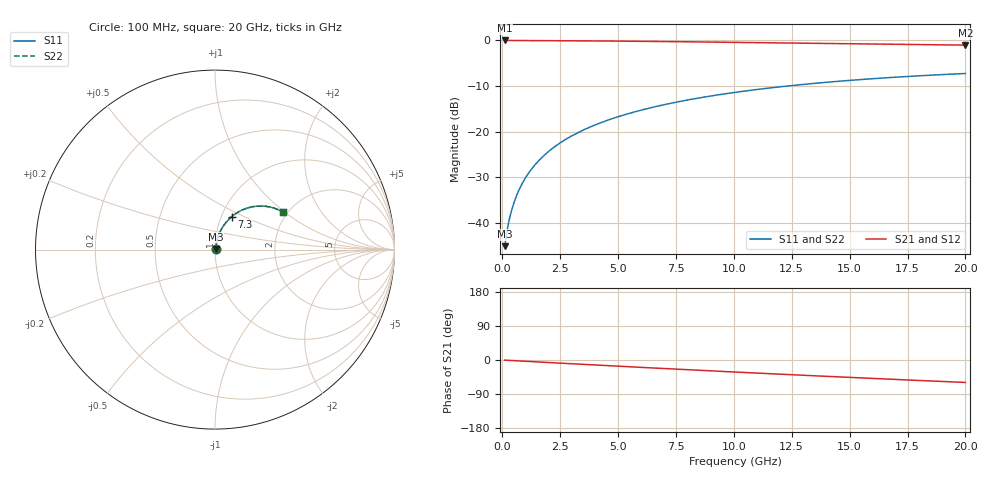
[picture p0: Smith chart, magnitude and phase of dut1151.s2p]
! Touchstone file exported from HFSS 2026.1.0
!  File:  C:/ffzhzh/LocalFiles/Ansys_Project_Files/temp_train_TMRDL_1151_1783162111_43440.aedt
!  Generated:  06:49:51 PM Jul  4, 2026
!  Design:  TMRDL
!  Project:  temp_train_TMRDL_1151_1783162111_43440
! Variables:
!  h_bsmrdl = 2um
!  h_ox = 20um
!  h_rdl = 5um
!  h_sub = 80um
!  h_tmrdl = 4.36um
!  h_tsv = 80um
!  h_via = 3um
!  l_bsmrdl = 300um
!  l_sub = 1370.34um
!  l_tmrdl = 970.34um
!  m_sub = 200um
!  pitch = 38.26um
!  r_tsv = 6um
!  s_tmrdl = 10um
!  w_bsmrdl = 18um
!  w_sub = 500um
!  w_tmrdl = 18.28um
!  x_tsv_center1 = 979.48um
!  x_tsv_center2 = 1297.48um
!  x_tsv_center3 = 2286.1um
!  x_tsv_center4 = 2604.1um
!  x_tsv_center5 = 3592.72um
!  x_tsv_center6 = 3910.72um
# GHz S MA R 50.000000
! Terminal data exported
! Port[1] = TM_RDL1_1_T1
! Port[2] = TM_RDL1_1_T2
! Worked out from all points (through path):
!   200 points, 100 MHz to 20 GHz, reference 50 ohm
!   highest |S21| = -0.04 dB at 100 MHz (marker M1); lowest = -1.1 dB at 20 GHz (marker M2)
!   group delay of S21, straight-line fit = 8.22 ps
!   lowest |S11| = -45.1 dB at 100 MHz (marker M3), VSWR 1.01, Z = 50.4 + j0.338 ohm
!   |S11| at or under -10 dB: start of sweep to 12.34 GHz
!   |S22| runs from -45.1 to -7.3 dB; largest |S21 - S12| = 1.1e-14
!   S11 on the Smith chart (normalised r, x): 100 MHz: 1.01, +0.01; 7.3 GHz: 1.12, +0.43; 20 GHz: 1.90, +0.97
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0.1  0.005572 36.9  0.9956 -0.4  0.9956 -0.4  0.005572 36.9
! Gamma 0 0 0 0
! Port Impedance 50 0 50 0
0.2  0.00809 54.1  0.9953 -0.7  0.9953 -0.7  0.008091 54.1
0.3  0.01087 62.2  0.9951 -1.0  0.9951 -1.0  0.01087 62.2
0.4  0.0137 66.8  0.9948 -1.4  0.9948 -1.4  0.0137 66.8
0.5  0.01656 69.9  0.9946 -1.7  0.9946 -1.7  0.01656 69.9
0.6  0.01944 72.0  0.9945 -2.0  0.9945 -2.0  0.01944 72.0
0.8  0.02526 74.7  0.9942 -2.7  0.9942 -2.7  0.02526 74.7
1.1  0.03408 76.7  0.9937 -3.7  0.9937 -3.7  0.03408 76.7
1.3  0.04 77.3  0.9934 -4.3  0.9934 -4.3  0.04 77.3
1.6  0.04887 77.5  0.9928 -5.3  0.9928 -5.3  0.04887 77.5
2.1  0.06361 77.2  0.9915 -7.0  0.9915 -7.0  0.06361 77.2
2.7  0.08113 76.1  0.9897 -8.9  0.9897 -8.9  0.08113 76.1
3.5  0.1041 74.1  0.9867 -11.5  0.9867 -11.5  0.1041 74.1
4.2  0.1237 72.2  0.9836 -13.8  0.9836 -13.8  0.1237 72.2
5  0.1456 69.9  0.9798 -16.3  0.9798 -16.3  0.1455 69.9
6.8  0.1925 64.7  0.9699 -21.9  0.9699 -21.9  0.1925 64.7
7.3  0.2049 63.2  0.9669 -23.5  0.9669 -23.5  0.2049 63.2
8.6  0.2362 59.5  0.9588 -27.4  0.9588 -27.4  0.2362 59.5
10.1  0.2701 55.2  0.949 -31.9  0.949 -31.9  0.27 55.2
13.4  0.3361 46.0  0.9266 -41.4  0.9266 -41.4  0.3361 46.0
16.7  0.3904 37.2  0.9048 -50.5  0.9048 -50.5  0.3903 37.2
20  0.4328 28.8  0.8853 -59.2  0.8853 -59.2  0.4328 28.8
